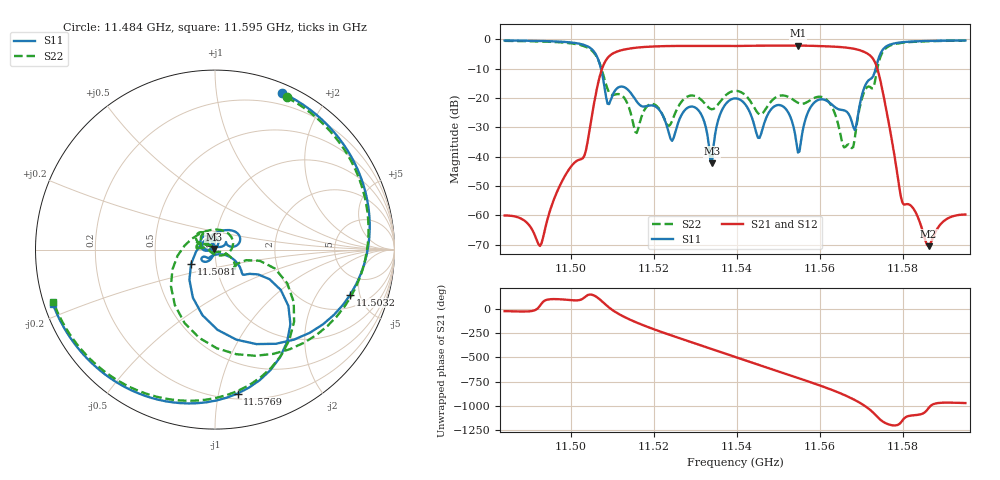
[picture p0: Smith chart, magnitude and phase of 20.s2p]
! Created with skrf 1.8.0 (http://scikit-rf.org).
# Hz S RI R 50.0
!freq ReS11 ImS11 ReS21 ImS21 ReS12 ImS12 ReS22 ImS22
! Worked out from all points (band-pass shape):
!   301 points, 11.484 GHz to 11.595 GHz, reference 50 ohm
!   highest |S21| = -2.17 dB at 11.5547 GHz (marker M1); lowest = -70.5 dB at 11.5861 GHz (marker M2)
!   |S21| within 3 dB of the highest: 11.5097 GHz to 11.5717 GHz (61.96 MHz wide, 0.537 % of centre)
!   lowest |S11| = -42.2 dB at 11.534 GHz (marker M3), VSWR 1.02, Z = 49.3 + j0.369 ohm
!   |S11| at or under -10 dB: 11.5072 GHz to 11.5734 GHz (66.2 MHz wide, 0.574 % of centre)
!   |S22| runs from -37.1 to -0.5 dB; largest |S21 - S12| = 0.0056
!   S11 on the Smith chart (normalised r, x): 11.484 GHz: 0.08, +1.51; 11.5032 GHz: 3.00, -4.07; 11.5081 GHz: 0.76, -0.12; 11.5769 GHz: 0.24, -1.14; 11.595 GHz: 0.02, -0.16
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1.1484e10  0.3715 0.8744  0.000892 -0.000432  0.000893 -0.000407  0.3994 0.8485
1.149251e10  0.6397 0.6804  0.00026 0.000149  0.000257 0.000155  0.6805 0.6131
1.15025e10  0.8117 -0.1374  -0.000637 0.00905  -0.0007 0.00918  0.7202 -0.3193
1.150324e10  0.7542 -0.2502  -0.00443 0.00944  -0.00452 0.00958  0.6268 -0.4253
1.150805e10  -0.133 -0.0792  0.2467 0.3078  0.248 0.3057  -0.2083 -0.0337
1.15136e10  0.1348 0.037  -0.133 -0.6708  -0.1345 -0.6723  0.0784 -0.0144
1.1521e10  0.0581 0.0306  -0.5062 0.5635  -0.5056 0.5617  -0.00117 0.0682
1.152433e10  0.00599 0.0175  0.1027 0.7601  0.1047 0.7598  -0.0318 0.0246
1.15284e10  -0.0107 0.0689  0.7037 0.3101  0.7009 0.3059  -0.0764 0.076
1.153395e10  -0.00677 0.00374  0.4337 -0.6391  0.4329 -0.6374  -0.0455 0.0449
1.15395e10  -0.0729 0.0656  -0.5502 -0.5335  -0.5484 -0.5288  -0.1007 0.0849
1.154801e10  -0.0613 -0.00373  -0.1584 0.7594  -0.1565 0.7583  -0.0835 0.00755
1.155467e10  -0.0116 0.00109  0.7717 0.1049  0.7668 0.1053  -0.078 0.0271
1.1558e10  -0.0378 -0.0641  0.5862 -0.5024  0.5856 -0.5001  -0.0949 0.00252
1.156244e10  -0.0696 -0.0419  -0.2384 -0.7139  -0.237 -0.7112  -0.0693 0.0379
1.156762e10  -0.0178 -0.0355  -0.644 0.2709  -0.6451 0.2692  -0.000411 -0.0139
1.157243e10  0.1662 -0.1396  0.4471 0.2157  0.4465 0.2182  0.1037 -0.1016
1.15765e10  0.1871 -0.7703  -0.0129 -0.0365  -0.0132 -0.0372  0.2525 -0.7132
1.157687e10  0.1254 -0.8021  -0.0113 -0.0254  -0.0116 -0.0258  0.1895 -0.7555
1.157983e10  -0.2784 -0.8444  0.000598 -0.00152  0.000585 -0.00155  -0.2412 -0.8358
1.158612e10  -0.7021 -0.6173  0.00016 0.00025  0.000166 0.000246  -0.6934 -0.6117
1.1595e10  -0.9031 -0.304  -0.000349 0.000969  -0.000324 0.000971  -0.8999 -0.2936
